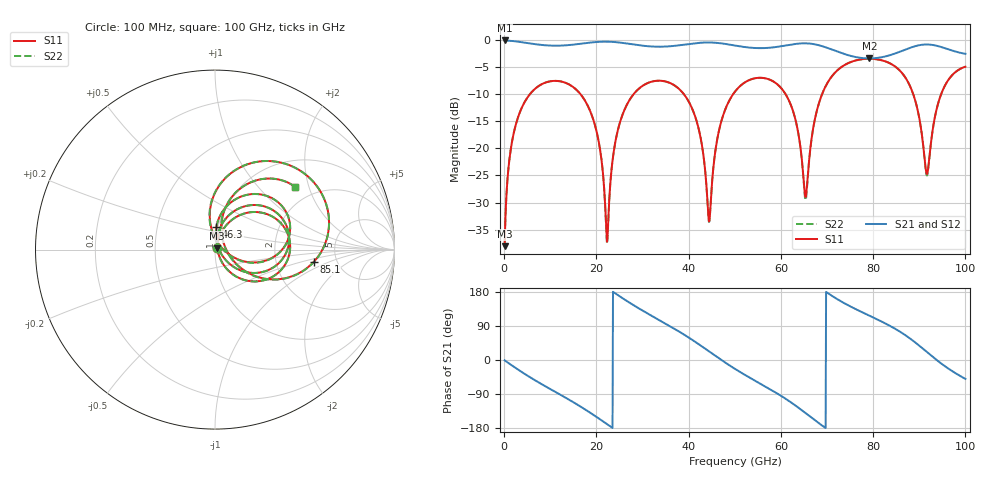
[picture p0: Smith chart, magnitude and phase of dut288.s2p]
! Touchstone file exported from HFSS 2026.1.0
!  File:  C:/ffzhzh/LocalFiles/Ansys_Project_Files/temp_train_TSV_RDL_288_1783680255_33328.aedt
!  Generated:  06:52:24 PM Jul 10, 2026
!  Design:  TSV_RDL
!  Project:  temp_train_TSV_RDL_288_1783680255_33328
! Variables:
!  h_bsmrdl = 3.13um
!  h_ox = 20um
!  h_rdl = 5um
!  h_sub = 79.02um
!  h_tmrdl = 4.62um
!  h_tsv = 79.02um
!  h_via = 3um
!  l_bsmrdl = 360.4um
!  l_sub = 2438.11um
!  l_tmrdl = 206.73um
!  m_sub = 200um
!  pitch = 46.58um
!  r_tsv = 9.81um
!  s_tmrdl = 10um
!  w_bsmrdl = 27.46um
!  w_sub = 500um
!  w_tmrdl = 15.87um
!  x_tsv_center1 = 214.665um
!  x_tsv_center2 = 602.525um
!  x_tsv_center3 = 825.125um
!  x_tsv_center4 = 1212.985um
!  x_tsv_center5 = 1435.585um
!  x_tsv_center6 = 1823.445um
# GHz S MA R 50.000000
! Terminal data exported
! Port[1] = TM_RDL1_1_T1
! Port[2] = TM_RDL5_1_T1
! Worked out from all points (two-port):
!   1000 points, 100 MHz to 100 GHz, reference 50 ohm
!   highest |S21| = -0.09 dB at 100 MHz (marker M1); lowest = -3.4 dB at 79.2 GHz (marker M2)
!   |S21| within 3 dB of the highest: start of sweep to 75.88 GHz; 82.39 GHz to end of sweep
!   lowest |S11| = -38.0 dB at 100 MHz (marker M3), VSWR 1.03, Z = 51 + j0.759 ohm
!   |S11| at or under -10 dB: 16.55 GHz to 28.07 GHz (11.52 GHz wide, 51.6 % of centre); 38.96 GHz to 49.64 GHz (10.68 GHz wide, 24.1 % of centre); 61.01 GHz to 68.93 GHz (7.916 GHz wide, 12.2 % of centre) (the widest 3 of 5)
!   |S22| runs from -38.0 to -3.5 dB; largest |S21 - S12| = 1.7e-14
!   S11 on the Smith chart (normalised r, x): 100 MHz: 1.02, +0.02; 46.3 GHz: 0.98, +0.26; 85.1 GHz: 3.35, -0.66; 100 GHz: 1.58, +1.63
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0.1  0.01252 36.5  0.99 -0.9  0.99 -0.9  0.01252 36.5
! Gamma 0 0 0 0
! Port Impedance 50 0 50 0
1.6  0.1086 69.0  0.9802 -13.7  0.9802 -13.7  0.1086 69.0
4.6  0.2748 48.5  0.9435 -37.9  0.9435 -37.9  0.2748 48.5
16.8  0.3065 -34.8  0.9256 -124.7  0.9256 -124.7  0.3065 -35.0
20.3  0.1277 -58.4  0.96 -152.5  0.96 -152.5  0.1277 -58.7
22.3  0.01376 6.1  0.9649 -169.2  0.9649 -169.2  0.01316 5.7
25.7  0.2064 68.0  0.9396 162.9  0.9396 162.9  0.2063 68.0
33.4  0.421 15.8  0.8669 106.9  0.8669 106.9  0.4209 15.7
40.9  0.2252 -34.5  0.9281 52.2  0.9281 52.2  0.2251 -34.6
44.4  0.02122 14.2  0.9487 22.9  0.9487 22.9  0.02094 14.3
46.3  0.128 86.5  0.9389 6.7  0.9389 6.7  0.1281 86.5
50.1  0.3361 62.8  0.8881 -23.9  0.8881 -23.9  0.3361 62.6
60.6  0.3362 -6.1  0.8837 -98.9  0.8837 -98.9  0.3361 -6.5
65.3  0.03568 31.5  0.9316 -139.6  0.9316 -139.6  0.03344 30.9
66.7  0.1273 99.9  0.922 -152.7  0.922 -152.7  0.1267 100.8
70.8  0.4471 76.8  0.8239 171.4  0.8239 171.4  0.447 76.9
79.2  0.6712 26.6  0.676 116.9  0.676 116.9  0.6712 26.5
83.4  0.616 3.4  0.7189 91.7  0.7189 91.7  0.616 3.3
85.1  0.5549 -7.0  0.7594 80.1  0.7594 80.1  0.555 -7.2
91.7  0.05808 25.2  0.9093 20.6  0.9093 20.6  0.05621 25.1
94.8  0.3212 71.3  0.8603 -9.6  0.8603 -9.6  0.3208 71.5
100  0.5667 38.2  0.7464 -49.9  0.7464 -49.9  0.5665 38.3
